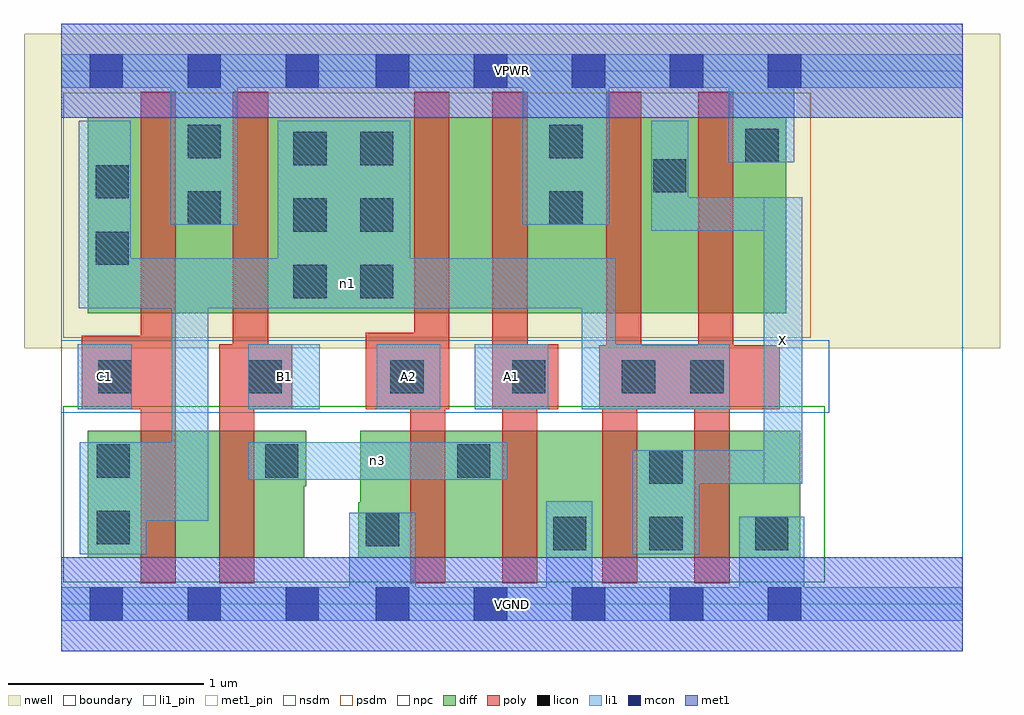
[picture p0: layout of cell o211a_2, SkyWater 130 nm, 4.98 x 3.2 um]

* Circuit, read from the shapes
.subckt o211a_2 A1 A2 B1 C1 VGND VPWR X n1 n3
XM1 n2 C1 n1 VSUBS sky130_fd_pr__nfet_01v8 w=0.65 l=0.18
XM2 n3 B1 n2 VSUBS sky130_fd_pr__nfet_01v8 w=0.65 l=0.18
XM3 n3 A2 VGND VSUBS sky130_fd_pr__nfet_01v8 w=0.65 l=0.18
XM4 VGND A1 n3 VSUBS sky130_fd_pr__nfet_01v8 w=0.65 l=0.18
XM5 X n1 VGND VSUBS sky130_fd_pr__nfet_01v8 w=0.65 l=0.18 m=2
XM6 VPWR C1 n1 n4 sky130_fd_pr__pfet_01v8 w=1 l=0.18
XM7 n1 B1 VPWR n4 sky130_fd_pr__pfet_01v8 w=1 l=0.18
XM8 n5 A2 n1 n4 sky130_fd_pr__pfet_01v8 w=1 l=0.18
XM9 VPWR A1 n5 n4 sky130_fd_pr__pfet_01v8 w=1 l=0.18
XM10 X n1 VPWR n4 sky130_fd_pr__pfet_01v8 w=1 l=0.18 m=2
.ends

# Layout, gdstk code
import gdstk
lib = gdstk.Library(unit=1e-6, precision=1e-09)
def R(c, l, rs):  # rectangles x0, y0, x1, y1
    for r in rs: c.add(gdstk.rectangle(r[:2], r[2:], *l))
def A(c, l, x, y, w, h, nx, ny, dx, dy):  # array of equal rectangles
    R(c, l, [(x+i*dx, y+j*dy, x+i*dx+w, y+j*dy+h) for i in range(nx) for j in range(ny)])
nwell = (64, 20)
diff = (65, 20)
poly = (66, 20)
licon = (66, 44)
li1_pin = (67, 16)
li1 = (67, 20)
mcon = (67, 44)
met1_pin = (68, 16)
met1 = (68, 20)
nsdm = (93, 44)
psdm = (94, 20)
npc = (95, 20)
boundary = (235, 4)

o211a_2 = lib.new_cell('o211a_2')
R(o211a_2, nwell, [(-0.19,1.305,4.79,2.91), (0,1.305,4.6,2.91)])
R(o211a_2, diff, [(0.135,0.235,1.24,0.885), (1.515,0.235,3.77,0.52), (1.525,0.235,3.77,0.885), (0.135,0.6,1.25,0.885), (0.135,1.485,3.7,2.485)])
R(o211a_2, poly, [(0.405,0.105,0.585,2.615), (0.805,0.105,0.985,1.325), (0.875,0.105,0.985,2.615), (1.78,0.105,1.96,1.385), (2.25,0.105,2.43,1.325), (2.76,0.105,2.94,1.32), (3.23,0.105,3.41,1.32), (0.105,0.995,0.585,1.37), (0.805,0.995,1.18,1.325), (0.985,0.995,1.055,2.615), (1.555,0.995,1.98,1.385), (1.8,0.995,1.98,2.615), (2.2,0.995,2.38,2.615), (2.2,0.995,2.535,1.325), (2.745,0.995,3.665,1.32), (2.78,0.995,2.96,2.615), (3.25,0.995,3.43,2.615)])
A(o211a_2, licon, 1.185, 1.56, 0.17, 0.17, 1, 3, 0, 0.34)
A(o211a_2, licon, 1.525, 1.56, 0.17, 0.17, 1, 3, 0, 0.34)
R(o211a_2, licon, [(2.51,0.275,2.68,0.445), (3,0.275,3.17,0.445), (3.54,0.275,3.71,0.445), (1.555,0.295,1.725,0.465), (0.18,0.305,0.35,0.475), (3,0.615,3.17,0.785), (0.18,0.645,0.35,0.815), (1.04,0.645,1.21,0.815), (2.02,0.645,2.19,0.815), (0.19,1.075,0.36,1.245), (0.955,1.075,1.125,1.245), (1.68,1.075,1.85,1.245), (2.3,1.075,2.47,1.245), (2.86,1.075,3.03,1.245), (3.21,1.075,3.38,1.245), (0.175,1.73,0.345,1.9), (0.645,1.935,0.815,2.105), (2.49,1.935,2.66,2.105), (0.175,2.07,0.345,2.24), (3.02,2.1,3.19,2.27), (3.49,2.255,3.66,2.425), (0.645,2.275,0.815,2.445), (2.49,2.275,2.66,2.445)])
R(o211a_2, li1_pin, [(3.585,0.615,3.78,2.075), (0.085,0.995,0.36,1.325), (0.955,0.995,1.32,1.325), (1.61,0.995,1.935,1.325), (2.11,0.995,2.485,1.325)])
R(o211a_2, li1, [(0,-0.085,4.6,0.085), (1.47,-0.085,1.81,0.465), (2.475,-0.085,2.71,0.525), (3.46,-0.085,3.79,0.445), (0.095,0.255,0.435,0.825), (2.915,0.255,3.255,0.785), (0.095,0.425,0.75,0.825), (0.565,0.425,0.75,1.765), (2.915,0.615,3.78,0.785), (3.585,0.615,3.78,2.075), (0.955,0.635,2.275,0.825), (0.085,0.995,0.36,1.325), (0.955,0.995,1.32,1.325), (1.61,0.995,1.935,1.325), (2.11,0.995,2.485,1.325), (2.655,0.995,3.41,1.325), (2.655,0.995,2.83,1.765), (0.09,1.51,2.83,1.765), (0.09,1.51,0.355,2.465), (1.105,1.51,1.78,2.465), (3.01,1.905,3.2,2.465), (3.01,1.905,3.78,2.075), (0.56,1.935,0.9,2.805), (2.355,1.935,2.795,2.805), (3.405,2.255,3.74,2.805), (0,2.635,4.6,2.805)])
A(o211a_2, mcon, 0.145, -0.085, 0.17, 0.17, 3, 2, 0.5, 2.72)
A(o211a_2, mcon, 1.605, -0.085, 0.17, 0.17, 5, 2, 0.5, 2.72)
R(o211a_2, met1_pin, [(0,-0.24,4.6,0.24), (0,2.48,4.6,2.96)])
R(o211a_2, met1, [(0,-0.24,4.6,0.24), (0,2.48,4.6,2.96)])
R(o211a_2, nsdm, [(0.01,0.11,3.895,1.01)])
R(o211a_2, psdm, [(0.01,1.36,3.825,2.61)])
R(o211a_2, npc, [(0,0.975,3.92,1.345)])
R(o211a_2, boundary, [(0,0,4.6,2.72)])
o211a_2.add(gdstk.Label('A1', (2.297,1.16), layer=67, texttype=5))
o211a_2.add(gdstk.Label('A2', (1.772,1.16), layer=67, texttype=5))
o211a_2.add(gdstk.Label('B1', (1.137,1.16), layer=67, texttype=5))
o211a_2.add(gdstk.Label('C1', (0.222,1.16), layer=67, texttype=5))
o211a_2.add(gdstk.Label('X', (3.682,1.345), layer=67, texttype=5))
o211a_2.add(gdstk.Label('n3', (1.615,0.73), layer=67, texttype=5))
o211a_2.add(gdstk.Label('n1', (1.46,1.637), layer=67, texttype=5))
o211a_2.add(gdstk.Label('VPWR', (2.3,2.72), layer=68, texttype=5))
o211a_2.add(gdstk.Label('VGND', (2.3,0), layer=68, texttype=5))
o211a_2.add(gdstk.Label('A1', (2.297,1.16), layer=67, texttype=16))
o211a_2.add(gdstk.Label('A2', (1.772,1.16), layer=67, texttype=16))
o211a_2.add(gdstk.Label('B1', (1.137,1.16), layer=67, texttype=16))
o211a_2.add(gdstk.Label('C1', (0.222,1.16), layer=67, texttype=16))
o211a_2.add(gdstk.Label('X', (3.682,1.345), layer=67, texttype=16))
o211a_2.add(gdstk.Label('VPWR', (2.3,2.72), layer=68, texttype=16))
o211a_2.add(gdstk.Label('VGND', (2.3,0), layer=68, texttype=16))

lib.write_gds('o211a_2.gds')
